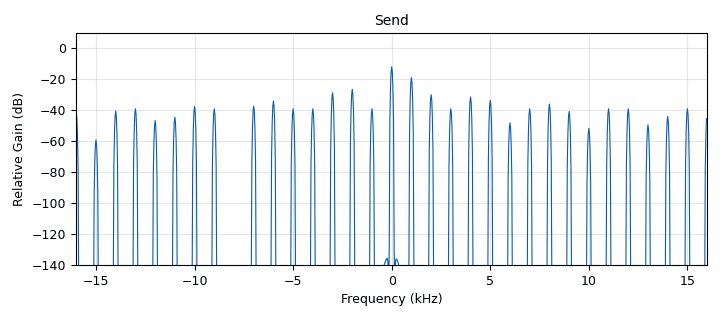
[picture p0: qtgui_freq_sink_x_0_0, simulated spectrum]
options:
  parameters:
    generate_options: qt_gui
    id: tcp_send
    output_language: python
    title: Not titled yet
  states: {}

blocks:
- name: samp_rate
  id: variable
  parameters:
    value: '32000'
  states: {}
- name: analog_sig_source_x_0
  id: analog_sig_source_x
  parameters:
    amp: '1'
    freq: '1000'
    offset: '0'
    phase: '0'
    samp_rate: samp_rate
    type: complex
    waveform: analog.GR_SAW_WAVE
  states: {}
- name: blocks_throttle_0
  id: blocks_throttle
  parameters:
    samples_per_second: samp_rate
    type: complex
  states: {}
- name: network_tcp_sink_0
  id: network_tcp_sink
  parameters:
    addr: ''
    mode: '1'
    port: '2000'
    type: complex
  states: {}
- name: qtgui_freq_sink_x_0_0
  id: qtgui_freq_sink_x
  parameters:
    bw: samp_rate
    fc: '0'
    fftsize: '1024'
    name: '"Send"'
    type: complex
  states: {}

connections:
- [analog_sig_source_x_0, '0', blocks_throttle_0, '0']
- [blocks_throttle_0, '0', network_tcp_sink_0, '0']
- [blocks_throttle_0, '0', qtgui_freq_sink_x_0_0, '0']

metadata:
  file_format: 1
